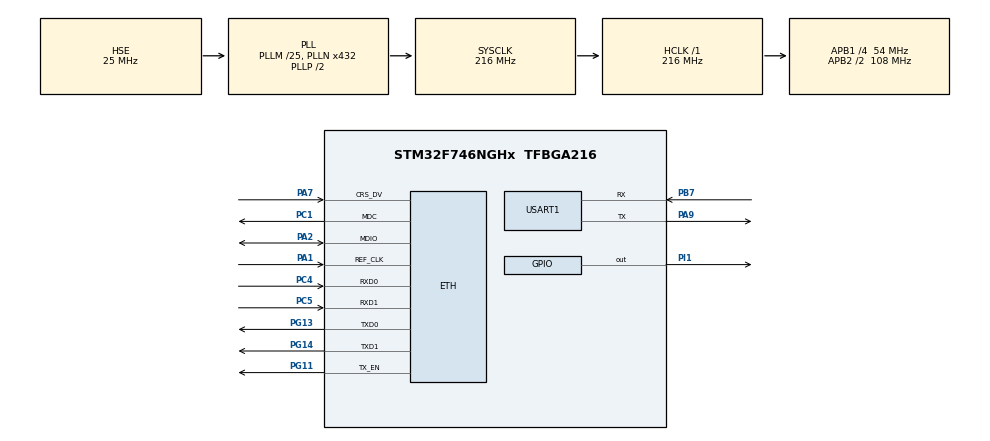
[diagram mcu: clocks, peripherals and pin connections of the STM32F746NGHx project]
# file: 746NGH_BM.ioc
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CORTEX_M7.default_mode_Activation=1
ETH.MACAddr=00\:80\:E1\:00\:00\:AA
ETH.MediaInterface=HAL_ETH_RMII_MODE
FREERTOS.Tasks01=defaultTask,0,512,StartDefaultTask,Default,NULL,Dynamic,NULL,NULL;myTask02,-1,256,StartTask02,Default,NULL,Dynamic,NULL,NULL
FREERTOS.configCHECK_FOR_STACK_OVERFLOW=2
FREERTOS.configTOTAL_HEAP_SIZE=32768
FREERTOS.configUSE_NEWLIB_REENTRANT=1
LWIP.BSP.number=1
LWIP.LWIP_SO_RCVBUF=1
LWIP.MEMP_NUM_SYS_TIMEOUT=7
LWIP.MEM_SIZE=2048
LWIP.Version=v2.1.2_Cube
LWIP0.BSP.STBoard=false
LWIP0.BSP.api=BSP_COMPONENT_DRIVER
LWIP0.BSP.component=LAN8742
LWIP0.BSP.instance=LAN8742
LWIP0.BSP.name=Driver_PHY
LWIP0.BSP.semaphore=S_LAN8742
LWIP0.BSP.solution=LAN8742
Mcu.Family=STM32F7
Mcu.Name=STM32F746NGHx
Mcu.Package=TFBGA216
NVIC.ETH_IRQn=true\:5\:0\:false\:false\:true\:true\:false\:true\:true
NVIC.PriorityGroup=NVIC_PRIORITYGROUP_4
NVIC.TIM6_DAC_IRQn=true\:15\:0\:false\:false\:true\:false\:false\:true\:true
NVIC.TimeBase=TIM6_DAC_IRQn
NVIC.TimeBaseIP=TIM6
PA1.Mode=RMII
PA1.Signal=ETH_REF_CLK
PA13.Mode=Serial_Wire
PA13.Signal=SYS_JTMS-SWDIO
PA14.Mode=Serial_Wire
PA14.Signal=SYS_JTCK-SWCLK
PA2.Mode=RMII
PA2.Signal=ETH_MDIO
PA7.Mode=RMII
PA7.Signal=ETH_CRS_DV
PA9.Mode=Asynchronous
PA9.Signal=USART1_TX
PB7.Mode=Asynchronous
PB7.Signal=USART1_RX
PC1.Mode=RMII
PC1.Signal=ETH_MDC
PC14/OSC32_IN.Mode=LSE-External-Oscillator
PC14/OSC32_IN.Signal=RCC_OSC32_IN
PC15/OSC32_OUT.Mode=LSE-External-Oscillator
PC15/OSC32_OUT.Signal=RCC_OSC32_OUT
PC4.Mode=RMII
PC4.Signal=ETH_RXD0
PC5.Mode=RMII
PC5.Signal=ETH_RXD1
PG11.Mode=RMII
PG11.Signal=ETH_TX_EN
PG13.Mode=RMII
PG13.Signal=ETH_TXD0
PG14.Mode=RMII
PG14.Signal=ETH_TXD1
PH0/OSC_IN.Mode=HSE-External-Oscillator
PH0/OSC_IN.Signal=RCC_OSC_IN
PH1/OSC_OUT.Mode=HSE-External-Oscillator
PH1/OSC_OUT.Signal=RCC_OSC_OUT
PI1.Signal=GPIO_Output
ProjectManager.HeapSize=0x200
ProjectManager.StackSize=0x400
ProjectManager.TargetToolchain=STM32CubeIDE
RCC.AHBFreq_Value=216000000
RCC.APB1CLKDivider=RCC_HCLK_DIV4
RCC.APB1Freq_Value=54000000
RCC.APB1TimFreq_Value=108000000
RCC.APB2CLKDivider=RCC_HCLK_DIV2
RCC.APB2Freq_Value=108000000
RCC.APB2TimFreq_Value=216000000
RCC.CortexFreq_Value=216000000
RCC.HCLKFreq_Value=216000000
RCC.HSE_VALUE=25000000
RCC.HSI_VALUE=16000000
RCC.PLLM=25
RCC.PLLN=432
RCC.PLLSourceVirtual=RCC_PLLSOURCE_HSE
RCC.SYSCLKFreq_VALUE=216000000
RCC.SYSCLKSource=RCC_SYSCLKSOURCE_PLLCLK
RCC.USBFreq_Value=216000000
RCC.VCOOutputFreq_Value=432000000
USART1.VirtualMode-Asynchronous=VM_ASYNC
VP_FREERTOS_VS_CMSIS_V1.Mode=CMSIS_V1
VP_LWIP_VS_Enabled.Mode=Enabled
VP_SYS_VS_tim6.Mode=TIM6
board=custom

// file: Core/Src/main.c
/* USER CODE BEGIN Header */
/**
  ******************************************************************************
  * @file           : main.c
  * @brief          : Main program body
  ******************************************************************************
  * @attention
  *
  * Copyright (c) 2024 STMicroelectronics.
  * All rights reserved.
  *
  * This software is licensed under terms that can be found in the LICENSE file
  * in the root directory of this software component.
  * If no LICENSE file comes with this software, it is provided AS-IS.
  *
  ******************************************************************************
  */
/* USER CODE END Header */
#include "main.h"
#include "cmsis_os.h"
#include "lwip.h"
#include "usart.h"
#include "gpio.h"

/* USER CODE BEGIN PV */
extern uint32_t MilliTimer;
/* USER CODE END PV */

void SystemClock_Config(void);
static void MPU_Config(void);
void MX_FREERTOS_Init(void);
/* USER CODE BEGIN PFP */
int _write(int file, char *ptr, int len)
{
  HAL_UART_Transmit(&huart1, (uint8_t*)ptr, len, HAL_MAX_DELAY);
  return len;
}
/* USER CODE END PFP */

int main(void)
{

  /* MPU Configuration--------------------------------------------------------*/
  MPU_Config();

  /* MCU Configuration--------------------------------------------------------*/

  /* Reset of all peripherals, Initializes the Flash interface and the Systick. */
  HAL_Init();

  /* Configure the system clock */
  SystemClock_Config();

  /* Initialize all configured peripherals */
  MX_GPIO_Init();
  MX_USART1_UART_Init();
  /* USER CODE BEGIN 2 */
  printf("Don't remove this printf to prevent hard fault.\r\n");
  /* USER CODE END 2 */

  /* Call init function for freertos objects (in cmsis_os2.c) */
  MX_FREERTOS_Init();

  /* Start scheduler */
  osKernelStart();

  /* We should never get here as control is now taken by the scheduler */

  /* Infinite loop */
  while (1)
  {

  }
}

void SystemClock_Config(void)
{
  RCC_OscInitTypeDef RCC_OscInitStruct = {0};
  RCC_ClkInitTypeDef RCC_ClkInitStruct = {0};

  /** Configure LSE Drive Capability
  */
  HAL_PWR_EnableBkUpAccess();

  /** Configure the main internal regulator output voltage
  */
  __HAL_RCC_PWR_CLK_ENABLE();
  __HAL_PWR_VOLTAGESCALING_CONFIG(PWR_REGULATOR_VOLTAGE_SCALE1);

  /** Initializes the RCC Oscillators according to the specified parameters
  * in the RCC_OscInitTypeDef structure.
  */
  RCC_OscInitStruct.OscillatorType = RCC_OSCILLATORTYPE_HSE;
  RCC_OscInitStruct.HSEState = RCC_HSE_ON;
  RCC_OscInitStruct.PLL.PLLState = RCC_PLL_ON;
  RCC_OscInitStruct.PLL.PLLSource = RCC_PLLSOURCE_HSE;
  RCC_OscInitStruct.PLL.PLLM = 25;
  RCC_OscInitStruct.PLL.PLLN = 432;
  RCC_OscInitStruct.PLL.PLLP = RCC_PLLP_DIV2;
  RCC_OscInitStruct.PLL.PLLQ = 2;
  if (HAL_RCC_OscConfig(&RCC_OscInitStruct) != HAL_OK)
  {
    Error_Handler();
  }

  /** Activate the Over-Drive mode
  */
  if (HAL_PWREx_EnableOverDrive() != HAL_OK)
  {
    Error_Handler();
  }

  /** Initializes the CPU, AHB and APB buses clocks
  */
  RCC_ClkInitStruct.ClockType = RCC_CLOCKTYPE_HCLK|RCC_CLOCKTYPE_SYSCLK
                              |RCC_CLOCKTYPE_PCLK1|RCC_CLOCKTYPE_PCLK2;
  RCC_ClkInitStruct.SYSCLKSource = RCC_SYSCLKSOURCE_PLLCLK;
  RCC_ClkInitStruct.AHBCLKDivider = RCC_SYSCLK_DIV1;
  RCC_ClkInitStruct.APB1CLKDivider = RCC_HCLK_DIV4;
  RCC_ClkInitStruct.APB2CLKDivider = RCC_HCLK_DIV2;

  if (HAL_RCC_ClockConfig(&RCC_ClkInitStruct, FLASH_LATENCY_7) != HAL_OK)
  {
    Error_Handler();
  }
}

 /* MPU Configuration */

void MPU_Config(void)
{
  MPU_Region_InitTypeDef MPU_InitStruct = {0};

  /* Disables the MPU */
  HAL_MPU_Disable();

  /** Initializes and configures the Region and the memory to be protected
  */
  MPU_InitStruct.Enable = MPU_REGION_ENABLE;
  MPU_InitStruct.Number = MPU_REGION_NUMBER0;
  MPU_InitStruct.BaseAddress = 0x0;
  MPU_InitStruct.Size = MPU_REGION_SIZE_4GB;
  MPU_InitStruct.SubRegionDisable = 0x87;
  MPU_InitStruct.TypeExtField = MPU_TEX_LEVEL0;
  MPU_InitStruct.AccessPermission = MPU_REGION_NO_ACCESS;
  MPU_InitStruct.DisableExec = MPU_INSTRUCTION_ACCESS_DISABLE;
  MPU_InitStruct.IsShareable = MPU_ACCESS_SHAREABLE;
  MPU_InitStruct.IsCacheable = MPU_ACCESS_NOT_CACHEABLE;
  MPU_InitStruct.IsBufferable = MPU_ACCESS_NOT_BUFFERABLE;

  HAL_MPU_ConfigRegion(&MPU_InitStruct);
  /* Enables the MPU */
  HAL_MPU_Enable(MPU_PRIVILEGED_DEFAULT);

}

void HAL_TIM_PeriodElapsedCallback(TIM_HandleTypeDef *htim)
{
  if (htim->Instance == TIM6) {
    HAL_IncTick();
  }
  /* USER CODE BEGIN Callback 1 */
  if (htim->Instance == TIM6) {
      MilliTimer++;
    }
  /* USER CODE END Callback 1 */
}

void Error_Handler(void)
{
  __disable_irq();
  while (1)
  {
  }
}

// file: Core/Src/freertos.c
/* USER CODE BEGIN Header */
/**
  ******************************************************************************
  * File Name          : freertos.c
  * Description        : Code for freertos applications
  ******************************************************************************
  * @attention
  *
  * Copyright (c) 2024 STMicroelectronics.
  * All rights reserved.
  *
  * This software is licensed under terms that can be found in the LICENSE file
  * in the root directory of this software component.
  * If no LICENSE file comes with this software, it is provided AS-IS.
  *
  ******************************************************************************
  */
/* USER CODE END Header */

#include "FreeRTOS.h"
#include "task.h"
#include "main.h"
#include "cmsis_os.h"

/* USER CODE BEGIN Includes */
#include "MQTTClient.h"
#include "MQTTInterface.h"

#include "usart.h"
#include <stdio.h>
#include "lwip/api.h"
#include "lwip/sys.h"
#include "lwip/netdb.h"
#include "lwip/sockets.h"
#include "lwip/inet.h"
#include "string.h"
/* USER CODE END Includes */

/* USER CODE BEGIN PTD */
#define BROKER_IP		"192.168.0.182"
#define MQTT_PORT		1883
#define MQTT_BUFSIZE	1024
/* USER CODE END PTD */

/* USER CODE BEGIN Variables */
extern struct netif gnetif; //extern gnetif
osThreadId tcpClientTaskHandle;  //tcp client task handle
/* USER CODE END Variables */
osThreadId defaultTaskHandle;
osThreadId myTask02Handle;

/* USER CODE BEGIN FunctionPrototypes */
void MqttClientSubTask(void const *argument); //mqtt client subscribe task function
void MqttClientPubTask(void const *argument); //mqtt client publish task function
int  MqttConnectBroker(void); 				//mqtt broker connect function
void MqttMessageArrived(MessageData* msg); //mqtt message callback function

Network net; //mqtt network
MQTTClient mqttClient; //mqtt client
osThreadId mqttClientSubTaskHandle;  //mqtt client task handle
osThreadId mqttClientPubTaskHandle;  //mqtt client task handle

uint8_t sndBuffer[MQTT_BUFSIZE]; //mqtt send buffer
uint8_t rcvBuffer[MQTT_BUFSIZE]; //mqtt receive buffer
uint8_t msgBuffer[MQTT_BUFSIZE]; //mqtt message buffer

void TcpClientTask(void const *argument){
	const char *server_ip = "192.168.0.27"; // Server IP
	const uint16_t server_port = 6000;       // Server Port
	char message[] = "Hello from STM32\r\n";
	//char recv_buffer[128];

	while (1) {
		// 1. Create a socket
		int sock = socket(AF_INET, SOCK_STREAM, IPPROTO_IP);
		if (sock < 0) {
			printf("Socket creation failed\n");
			vTaskDelay(pdMS_TO_TICKS(1000));
			continue;
		}

		// 2. Define server address
		struct sockaddr_in server_addr;
		server_addr.sin_family = AF_INET;
		server_addr.sin_port = htons(server_port);
		server_addr.sin_addr.s_addr = inet_addr(server_ip);

		// 3. Connect to the server
		if (connect(sock, (struct sockaddr *)&server_addr, sizeof(server_addr)) < 0) {
			printf("Connection failed\n");
			close(sock);
			vTaskDelay(pdMS_TO_TICKS(1000));
			continue;
		}

		// 4. Send data to the server
		if (send(sock, message, strlen(message), 0) < 0) {
			printf("Send failed\n");
			close(sock);
			vTaskDelay(pdMS_TO_TICKS(1000));
			continue;
		}

		// 5. Receive data from the server
//		int len = recv(sock, recv_buffer, sizeof(recv_buffer) - 1, 0);
//		if (len > 0) {
//			recv_buffer[len] = '\0';
//			printf("Received: %s\n", recv_buffer);
//		} else {
//			printf("Receive failed\n");
//		}

		// 6. Close the socket
		close(sock);

		// Delay before next connection attempt
		vTaskDelay(pdMS_TO_TICKS(5000));
	}
}
/* USER CODE END FunctionPrototypes */

void StartDefaultTask(void const * argument);
void StartTask02(void const * argument);

extern void MX_LWIP_Init(void);
void MX_FREERTOS_Init(void); /* (MISRA C 2004 rule 8.1) */

/* GetIdleTaskMemory prototype (linked to static allocation support) */
void vApplicationGetIdleTaskMemory( StaticTask_t **ppxIdleTaskTCBBuffer, StackType_t **ppxIdleTaskStackBuffer, uint32_t *pulIdleTaskStackSize );

/* Hook prototypes */
void vApplicationStackOverflowHook(xTaskHandle xTask, signed char *pcTaskName);

/* USER CODE BEGIN 4 */
__weak void vApplicationStackOverflowHook(xTaskHandle xTask, signed char *pcTaskName)
{
   /* Run time stack overflow checking is performed if
   configCHECK_FOR_STACK_OVERFLOW is defined to 1 or 2. This hook function is
   called if a stack overflow is detected. */
}
/* USER CODE END 4 */

/* USER CODE BEGIN GET_IDLE_TASK_MEMORY */
static StaticTask_t xIdleTaskTCBBuffer;
static StackType_t xIdleStack[configMINIMAL_STACK_SIZE];

void vApplicationGetIdleTaskMemory( StaticTask_t **ppxIdleTaskTCBBuffer, StackType_t **ppxIdleTaskStackBuffer, uint32_t *pulIdleTaskStackSize )
{
  *ppxIdleTaskTCBBuffer = &xIdleTaskTCBBuffer;
  *ppxIdleTaskStackBuffer = &xIdleStack[0];
  *pulIdleTaskStackSize = configMINIMAL_STACK_SIZE;
  /* place for user code */
}
/* USER CODE END GET_IDLE_TASK_MEMORY */

void MX_FREERTOS_Init(void) {

  /* Create the thread(s) */
  /* definition and creation of defaultTask */
  osThreadDef(defaultTask, StartDefaultTask, osPriorityNormal, 0, 512);
  defaultTaskHandle = osThreadCreate(osThread(defaultTask), NULL);

  /* definition and creation of myTask02 */
  osThreadDef(myTask02, StartTask02, osPriorityBelowNormal, 0, 256);
  myTask02Handle = osThreadCreate(osThread(myTask02), NULL);

}

void StartDefaultTask(void const * argument)
{
  /* init code for LWIP */
  MX_LWIP_Init();
  /* USER CODE BEGIN StartDefaultTask */
  /* Infinite loop */
  for(;;)
  {
      //Waiting for valid ip address
      if(gnetif.ip_addr.addr == 0 || gnetif.netmask.addr == 0 || gnetif.gw.addr == 0){
	      osDelay(200);
	      printf(".");
	      continue;
      }else{
	      printf("\r\nDHCP/Static IP: %s\r\n", ip4addr_ntoa(netif_ip4_addr(&gnetif)));
	      break;
      }
  }

//  osThreadDef(tcpClientTask, TcpClientTask, osPriorityNormal, 0, 256);
//  tcpClientTaskHandle = osThreadCreate(osThread(tcpClientTask), NULL); //run tcp client task

	osThreadDef(mqttClientSubTask, MqttClientSubTask, osPriorityNormal, 0, 512); //subscribe task
	osThreadDef(mqttClientPubTask, MqttClientPubTask, osPriorityNormal, 0, 512); //publish task
	mqttClientSubTaskHandle = osThreadCreate(osThread(mqttClientSubTask), NULL);
	mqttClientPubTaskHandle = osThreadCreate(osThread(mqttClientPubTask), NULL);

  for(;;)
  {
    osDelay(1);
  }
  /* USER CODE END StartDefaultTask */
}

void StartTask02(void const * argument)
{
  for(;;)
  {
    osDelay(1);
  }
}

/* USER CODE BEGIN Application */

void MqttClientSubTask(void const *argument)
{
	while(1)
	{
		//waiting for valid ip address
		if (gnetif.ip_addr.addr == 0 || gnetif.netmask.addr == 0 || gnetif.gw.addr == 0) //system has no valid ip address
		{
			osDelay(1000);
			continue;
		}
		else
		{
			printf("DHCP/Static IP O.K.\n");
			break;
		}
	}

	while(1)
	{
		if(!mqttClient.isconnected)
		{
			//try to connect to the broker
			MQTTDisconnect(&mqttClient);
			MqttConnectBroker();
			osDelay(1000);
		}
		else
		{
			MQTTYield(&mqttClient, 1000); //handle timer
			osDelay(100);
		}
	}
}

void MqttClientPubTask(void const *argument)
{
	const char* str = "MQTT message from STM32";
	MQTTMessage message;

	while(1)
	{
		if(mqttClient.isconnected)
		{
			message.payload = (void*)str;
			message.payloadlen = strlen(str);

			MQTTPublish(&mqttClient, "test", &message); //publish a message
		}

		osDelay(1000);
	}
}

int MqttConnectBroker()
{
	int ret;

	NewNetwork(&net);

	ret = ConnectNetwork(&net, BROKER_IP, MQTT_PORT);
	if(ret != MQTT_SUCCESS)
	{
		printf("ConnectNetwork failed.\n");
		return -1;
	}

	MQTTClientInit(&mqttClient, &net, 1000, sndBuffer, sizeof(sndBuffer), rcvBuffer, sizeof(rcvBuffer));

	MQTTPacket_connectData data = MQTTPacket_connectData_initializer;

	data.MQTTVersion = 3;
	data.clientID.cstring = "STM32_Client";
//	data.username.cstring = "";
//	data.password.cstring = "";
//	data.keepAliveInterval = 60;
//	data.cleansession = 1;
//	data.willFlag = 0;

	ret = MQTTConnect(&mqttClient, &data);
	if(ret != MQTT_SUCCESS)
	{
		printf("MQTTConnect failed.\n");
		return ret;
	}

	ret = MQTTSubscribe(&mqttClient, "test", QOS0, MqttMessageArrived);
	if(ret != MQTT_SUCCESS)
	{
		printf("MQTTSubscribe failed.\n");
		return ret;
	}

	printf("MQTT_ConnectBroker O.K.\n");
	return MQTT_SUCCESS;
}

void MqttMessageArrived(MessageData* msg)
{
	HAL_GPIO_TogglePin(GPIOI, GPIO_PIN_1);

	MQTTMessage* message = msg->message;
	memset(msgBuffer, 0, sizeof(msgBuffer));
	memcpy(msgBuffer, message->payload,message->payloadlen);

	printf("MQTT MSG[%d]:%s\n", (int)message->payloadlen, msgBuffer);
}
/* USER CODE END Application */
